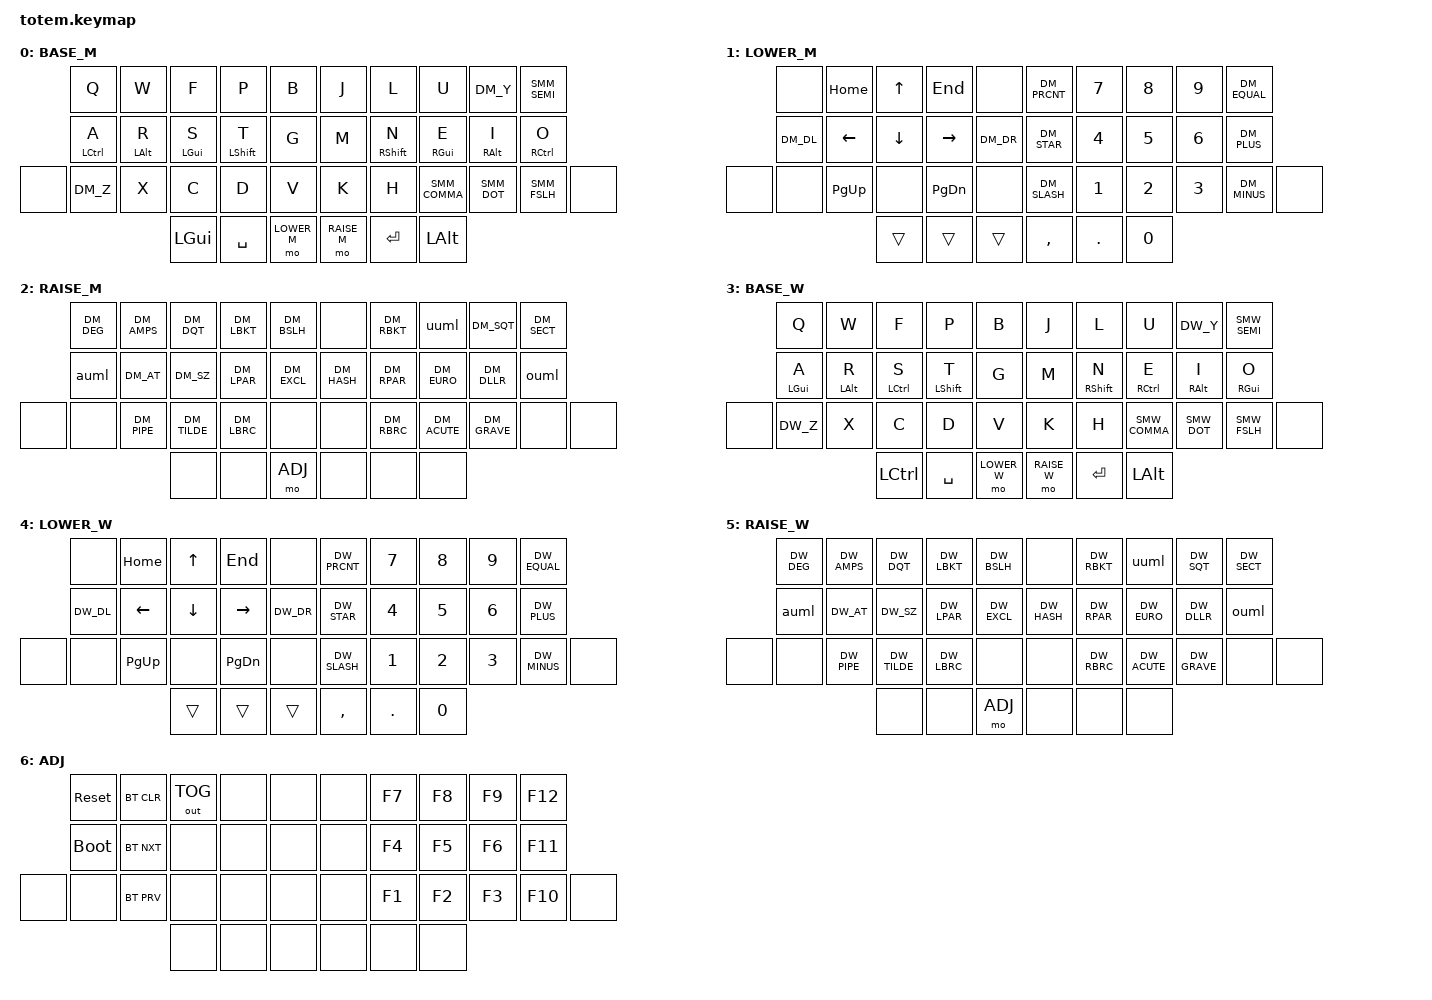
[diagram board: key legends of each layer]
//
//                                                        ▀▀▀▀▀     ▀▀▀▀▀          ▀▀█▀▀
//                                                        ▄▀▀▀▄  ▄  ▄▀▀▀▄  ▄  ▄▀▀▀▄  █  ▄▀▀▀▄
//                                                        █   █  █  █   █  █  █   █  █  █   █
//                                                         ▀▀▀   █   ▀▀▀   █   ▀▀▀   ▀   ▀▀▀
//                                                               █      ▄▄▄█▄▄▄    █   █  
//                                                               ▀      █  █  █     █▄█
//                                                             ▀▀▀▀▀    █  █  █      ▀
//                                                                      ▀  ▀  ▀
//
// ▄▄▄▄▄▄▄▄▄▄▄▄▄▄▄▄▄▄▄▄▄▄▄▄▄▄▄▄▄▄▄▄▄▄▄▄▄▄▄▄▄▄▄▄▄▄▄▄▄▄▄▄▄▄▄▄▄▄▄▄▄▄▄▄▄▄▄▄▄▄▄▄▄▄▄▄▄▄▄▄▄▄▄▄▄▄▄▄▄▄▄▄▄▄▄▄▄▄▄▄▄▄▄▄▄▄▄▄▄▄▄▄▄▄▄▄▄▄▄▄▄▄▄▄▄▄▄▄▄▄▄▄▄▄▄▄▄▄▄▄▄▄▄▄▄▄▄▄▄
       
#include <behaviors.dtsi>
#include <dt-bindings/zmk/keys.h>
#include <dt-bindings/zmk/bt.h>
#include <dt-bindings/zmk/outputs.h>

#include "../helpers/helper.h"
#include "../helpers/keys_de_mac.h"
#include "../helpers/keys_de_win.h"

#define BASE_M  0
#define LOWER_M 1
#define RAISE_M 2
#define BASE_W  3
#define LOWER_W 4
#define RAISE_W 5
#define ADJ     6

&mt {
  // CAGS
  quick-tap-ms = <100>;
  global-quick-tap;
  flavor = "tap-preferred";
  tapping-term-ms = <170>;
};

/ {
    combos {
            compatible = "zmk,combos";
            combo_esc {
                timeout-ms = <50>;
                key-positions = <0 1>;
                bindings = <&kp ESC>;
            };
            combo_backspace {
                timeout-ms = <50>;
                key-positions = <16 17>;
                bindings = <&kp BSPC>;
            };
            combo_delete {
                timeout-ms = <50>;
                key-positions = <17 18>;
                bindings = <&kp DEL>;
            };
            combo_word_delete {
                timeout-ms = <50>;
                key-positions = <16 18>;
                bindings = <&kp LA(BSPC)>;
            };
            combo_tab {
                timeout-ms = <50>;
                key-positions = <1 2>;
                bindings = <&kp TAB>;
            };
            combo_toggle_os {
                timeout-ms = <50>;
                key-positions = <4 5>;
                bindings = <&tog BASE_W>;
            };
    };

    macros {
 
    };

    behaviors {

    };

        keymap {
                compatible = "zmk,keymap";
// ▄▄▄▄▄▄▄▄▄▄▄▄▄▄▄▄▄▄▄▄▄▄▄▄▄▄▄▄▄▄▄▄▄▄▄▄▄▄▄▄▄▄▄▄▄▄▄▄▄▄▄▄▄▄▄▄▄▄▄▄▄▄▄▄▄▄▄▄▄▄▄▄▄▄▄▄▄▄▄▄▄▄▄▄▄▄▄▄▄▄▄▄▄▄▄▄▄▄▄▄▄▄▄▄▄▄▄▄▄▄▄▄▄▄▄▄▄▄▄▄▄▄▄▄▄▄▄▄▄▄▄▄▄▄▄▄▄▄▄▄▄▄▄▄▄▄▄▄▄

                BASE_M_layer {
// ┏━━━━━━━━━━━━━━━━━━━━━━━━━━━━━━━━━━━━━━━┓
label= "BASE_M"                              ;
// ┗━━━━━━━━━━━━━━━━━━━━━━━━━━━━━━━━━━━━━━━┛
//             ┏━━━━━━━━━━━┳━━━━━━━━━━━┳━━━━━━━━━━━┳━━━━━━━━━━━┳━━━━━━━━━━━┓   ┏━━━━━━━━━━━┳━━━━━━━━━━━┳━━━━━━━━━━━┳━━━━━━━━━━━┳━━━━━━━━━━━┓
//             ┃     Q     ┃     W     ┃     F     ┃     P     ┃     B     ┃   ┃     J     ┃     L     ┃     U     ┃     Y     ┃     ;     ┃
//             ┣━━━━━━━━━━━╋━━━━━━━━━━━╋━━━━━━━━━━━╋━━━━━━━━━━━╋━━━━━━━━━━━┫   ┣━━━━━━━━━━━╋━━━━━━━━━━━╋━━━━━━━━━━━╋━━━━━━━━━━━╋━━━━━━━━━━━┫
//             ┃     A     ┃     R     ┃     S     ┃     T     ┃     G     ┃   ┃     M     ┃     N     ┃     E     ┃     I     ┃     O     ┃
// ┏━━━━━━━━━━━╋━━━━━━━━━━━╋━━━━━━━━━━━╋━━━━━━━━━━━╋━━━━━━━━━━━╋━━━━━━━━━━━┫   ┣━━━━━━━━━━━╋━━━━━━━━━━━╋━━━━━━━━━━━╋━━━━━━━━━━━╋━━━━━━━━━━━╋━━━━━━━━━━━┓
// ┃           ┃     Z     ┃     X     ┃     C     ┃     D     ┃     V     ┃   ┃     K     ┃     H     ┃     ,     ┃     .     ┃     /     ┃           ┃
// ┗━━━━━━━━━━━┻━━━━━━━━━━━┻━━━━━━━━━━━╋━━━━━━━━━━━╋━━━━━━━━━━━╋━━━━━━━━━━━┫   ┣━━━━━━━━━━━╋━━━━━━━━━━━╋━━━━━━━━━━━╋━━━━━━━━━━━┻━━━━━━━━━━━┻━━━━━━━━━━━┛
//                                     ┃   LGUI    ┃   LSHFT   ┃   LOWER_M ┃   ┃   RAISE_M ┃    ENTER  ┃   LALT    ┃
//                                     ┗━━━━━━━━━━━┻━━━━━━━━━━━┻━━━━━━━━━━━┛   ┗━━━━━━━━━━━┻━━━━━━━━━━━┻━━━━━━━━━━━┛
 bindings = <
// ╷           ╷           ╷           ╷           ╷           ╷           ╷   ╷           ╷           ╷           ╷           ╷           ╷           ╷

                &kp Q       &kp W       &kp F       &kp P       &kp B           &kp J       &kp L       &kp U       &kp DM_Y    &SMM_SEMI
                &mt LCTRL A &mt LALT R  &mt LGUI S  &mt LSHFT T &kp G           &kp M       &mt RSHFT N &mt RGUI E  &mt RALT I  &mt RCTRL O
    &none       &kp DM_Z    &kp X       &kp C       &kp D       &kp V           &kp K       &kp H       &SMM_COMMA  &SMM_DOT    &SMM_FSLH   &none
                                        &kp LGUI    &kp SPACE   &mo LOWER_M     &mo RAISE_M &kp RET     &kp LALT
                        >;
                };

// ▄▄▄▄▄▄▄▄▄▄▄▄▄▄▄▄▄▄▄▄▄▄▄▄▄▄▄▄▄▄▄▄▄▄▄▄▄▄▄▄▄▄▄▄▄▄▄▄▄▄▄▄▄▄▄▄▄▄▄▄▄▄▄▄▄▄▄▄▄▄▄▄▄▄▄▄▄▄▄▄▄▄▄▄▄▄▄▄▄▄▄▄▄▄▄▄▄▄▄▄▄▄▄▄▄▄▄▄▄▄▄▄▄▄▄▄▄▄▄▄▄▄▄▄▄▄▄▄▄▄▄▄▄▄▄▄▄▄▄▄▄▄▄▄▄▄▄▄▄

                LOWER_M_layer {
// ┏━━━━━━━━━━━━━━━━━━━━━━━━━━━━━━━━━━━━━━━┓
label= "LOWER_M"                              ;
// ┗━━━━━━━━━━━━━━━━━━━━━━━━━━━━━━━━━━━━━━━┛
//             ┏━━━━━━━━━━━┳━━━━━━━━━━━┳━━━━━━━━━━━┳━━━━━━━━━━━┳━━━━━━━━━━━┓   ┏━━━━━━━━━━━┳━━━━━━━━━━━┳━━━━━━━━━━━┳━━━━━━━━━━━┳━━━━━━━━━━━┓
//             ┃           ┃   HOME    ┃     UP    ┃    END    ┃           ┃   ┃     %     ┃     7     ┃     8     ┃     9     ┃     =     ┃
//             ┣━━━━━━━━━━━╋━━━━━━━━━━━╋━━━━━━━━━━━╋━━━━━━━━━━━╋━━━━━━━━━━━┫   ┣━━━━━━━━━━━╋━━━━━━━━━━━╋━━━━━━━━━━━╋━━━━━━━━━━━╋━━━━━━━━━━━┫
//             ┃CTRL(LEFT) ┃   LEFT    ┃    DOWN   ┃   RIGHT   ┃CTRL(RIGHT)┃   ┃     *     ┃     4     ┃     5     ┃     6     ┃     +     ┃
// ┏━━━━━━━━━━━╋━━━━━━━━━━━╋━━━━━━━━━━━╋━━━━━━━━━━━╋━━━━━━━━━━━╋━━━━━━━━━━━┫   ┣━━━━━━━━━━━╋━━━━━━━━━━━╋━━━━━━━━━━━╋━━━━━━━━━━━╋━━━━━━━━━━━╋━━━━━━━━━━━┓
// ┃           ┃           ┃   P UP    ┃           ┃  P DOWN   ┃           ┃   ┃     /     ┃     1     ┃     2     ┃     3     ┃     -     ┃           ┃
// ┗━━━━━━━━━━━┻━━━━━━━━━━━┻━━━━━━━━━━━╋━━━━━━━━━━━╋━━━━━━━━━━━╋━━━━━━━━━━━┫   ┣━━━━━━━━━━━╋━━━━━━━━━━━╋━━━━━━━━━━━╋━━━━━━━━━━━┻━━━━━━━━━━━┻━━━━━━━━━━━┛
//                                     ┃   LGUI    ┃   LSHFT   ┃           ┃   ┃     ,     ┃     .     ┃     0     ┃
//                                     ┗━━━━━━━━━━━┻━━━━━━━━━━━┻━━━━━━━━━━━┛   ┗━━━━━━━━━━━┻━━━━━━━━━━━┻━━━━━━━━━━━┛
 bindings = <
// ╷           ╷           ╷           ╷           ╷           ╷           ╷   ╷           ╷           ╷           ╷           ╷           ╷           ╷

                &none       &kp HOME    &kp UP      &kp END     &none           &kp DM_PRCNT &kp N7     &kp N8      &kp N9      &kp DM_EQUAL
                &kp DM_DL   &kp LEFT    &kp DOWN    &kp RIGHT   &kp DM_DR       &kp DM_STAR  &kp N4     &kp N5      &kp N6      &kp DM_PLUS
    &none       &none       &kp PG_UP   &none       &kp PG_DN   &none           &kp DM_SLASH &kp N1     &kp N2      &kp N3      &kp DM_MINUS   &none      
                                        &trans      &trans      &trans          &kp COMMA    &kp DOT    &kp N0      
                        >;
                };

// ▄▄▄▄▄▄▄▄▄▄▄▄▄▄▄▄▄▄▄▄▄▄▄▄▄▄▄▄▄▄▄▄▄▄▄▄▄▄▄▄▄▄▄▄▄▄▄▄▄▄▄▄▄▄▄▄▄▄▄▄▄▄▄▄▄▄▄▄▄▄▄▄▄▄▄▄▄▄▄▄▄▄▄▄▄▄▄▄▄▄▄▄▄▄▄▄▄▄▄▄▄▄▄▄▄▄▄▄▄▄▄▄▄▄▄▄▄▄▄▄▄▄▄▄▄▄▄▄▄▄▄▄▄▄▄▄▄▄▄▄▄▄▄▄▄▄▄▄▄

                RAISE_M_layer {
// ┏━━━━━━━━━━━━━━━━━━━━━━━━━━━━━━━━━━━━━━━┓
label= "RAISE_M"                             ;
// ┗━━━━━━━━━━━━━━━━━━━━━━━━━━━━━━━━━━━━━━━┛
//             ┏━━━━━━━━━━━┳━━━━━━━━━━━┳━━━━━━━━━━━┳━━━━━━━━━━━┳━━━━━━━━━━━┓   ┏━━━━━━━━━━━┳━━━━━━━━━━━┳━━━━━━━━━━━┳━━━━━━━━━━━┳━━━━━━━━━━━┓
//             ┃     °     ┃     &     ┃     "     ┃     [     ┃     \     ┃   ┃           ┃     ]     ┃     Ü     ┃     '     ┃     §     ┃
//             ┣━━━━━━━━━━━╋━━━━━━━━━━━╋━━━━━━━━━━━╋━━━━━━━━━━━╋━━━━━━━━━━━┫   ┣━━━━━━━━━━━╋━━━━━━━━━━━╋━━━━━━━━━━━╋━━━━━━━━━━━╋━━━━━━━━━━━┫
//             ┃     Ä     ┃     @     ┃     ß     ┃     (     ┃     !     ┃   ┃     #     ┃     )     ┃     €     ┃     $     ┃     Ö     ┃
// ┏━━━━━━━━━━━╋━━━━━━━━━━━╋━━━━━━━━━━━╋━━━━━━━━━━━╋━━━━━━━━━━━╋━━━━━━━━━━━┫   ┣━━━━━━━━━━━╋━━━━━━━━━━━╋━━━━━━━━━━━╋━━━━━━━━━━━╋━━━━━━━━━━━╋━━━━━━━━━━━┓
// ┃           ┃           ┃     |     ┃     ~     ┃     {     ┃           ┃   ┃           ┃     }     ┃     ´     ┃     `     ┃           ┃           ┃
// ┗━━━━━━━━━━━┻━━━━━━━━━━━┻━━━━━━━━━━━╋━━━━━━━━━━━╋━━━━━━━━━━━╋━━━━━━━━━━━┫   ┣━━━━━━━━━━━╋━━━━━━━━━━━╋━━━━━━━━━━━╋━━━━━━━━━━━┻━━━━━━━━━━━┻━━━━━━━━━━━┛
//                                     ┃           ┃           ┃    ADJ    ┃   ┃           ┃           ┃           ┃
//                                     ┗━━━━━━━━━━━┻━━━━━━━━━━━┻━━━━━━━━━━━┛   ┗━━━━━━━━━━━┻━━━━━━━━━━━┻━━━━━━━━━━━┛
 bindings = <
// ╷           ╷           ╷           ╷           ╷           ╷           ╷   ╷           ╷           ╷           ╷           ╷           ╷           ╷

                &kp DM_DEG &kp DM_AMPS  &kp DM_DQT   &kp DM_LBKT &kp DM_BSLH    &none       &kp DM_RBKT &kp uuml     &kp DM_SQT   &kp DM_SECT
                &kp auml   &kp DM_AT    &kp DM_SZ    &kp DM_LPAR &kp DM_EXCL    &kp DM_HASH &kp DM_RPAR &kp DM_EURO  &kp DM_DLLR  &kp ouml             
    &none       &none      &kp DM_PIPE  &kp DM_TILDE &kp DM_LBRC &none          &none       &kp DM_RBRC &kp DM_ACUTE &kp DM_GRAVE &none       &none         
                                        &none        &none       &mo ADJ        &none       &none       &none      
                        >;
                };

// ▄▄▄▄▄▄▄▄▄▄▄▄▄▄▄▄▄▄▄▄▄▄▄▄▄▄▄▄▄▄▄▄▄▄▄▄▄▄▄▄▄▄▄▄▄▄▄▄▄▄▄▄▄▄▄▄▄▄▄▄▄▄▄▄▄▄▄▄▄▄▄▄▄▄▄▄▄▄▄▄▄▄▄▄▄▄▄▄▄▄▄▄▄▄▄▄▄▄▄▄▄▄▄▄▄▄▄▄▄▄▄▄▄▄▄▄▄▄▄▄▄▄▄▄▄▄▄▄▄▄▄▄▄▄▄▄▄▄▄▄▄▄▄▄▄▄▄▄▄

                BASE_W_layer {
// ┏━━━━━━━━━━━━━━━━━━━━━━━━━━━━━━━━━━━━━━━┓
label= "BASE_W"                              ;
// ┗━━━━━━━━━━━━━━━━━━━━━━━━━━━━━━━━━━━━━━━┛
//             ┏━━━━━━━━━━━┳━━━━━━━━━━━┳━━━━━━━━━━━┳━━━━━━━━━━━┳━━━━━━━━━━━┓   ┏━━━━━━━━━━━┳━━━━━━━━━━━┳━━━━━━━━━━━┳━━━━━━━━━━━┳━━━━━━━━━━━┓
//             ┃     Q     ┃     W     ┃     F     ┃     P     ┃     B     ┃   ┃     J     ┃     L     ┃     U     ┃     Y     ┃     ;     ┃
//             ┣━━━━━━━━━━━╋━━━━━━━━━━━╋━━━━━━━━━━━╋━━━━━━━━━━━╋━━━━━━━━━━━┫   ┣━━━━━━━━━━━╋━━━━━━━━━━━╋━━━━━━━━━━━╋━━━━━━━━━━━╋━━━━━━━━━━━┫
//             ┃     A     ┃     R     ┃     S     ┃     T     ┃     G     ┃   ┃     M     ┃     N     ┃     E     ┃     I     ┃     O     ┃
// ┏━━━━━━━━━━━╋━━━━━━━━━━━╋━━━━━━━━━━━╋━━━━━━━━━━━╋━━━━━━━━━━━╋━━━━━━━━━━━┫   ┣━━━━━━━━━━━╋━━━━━━━━━━━╋━━━━━━━━━━━╋━━━━━━━━━━━╋━━━━━━━━━━━╋━━━━━━━━━━━┓
// ┃           ┃     Z     ┃     X     ┃     C     ┃     D     ┃     V     ┃   ┃     K     ┃     H     ┃     ,     ┃     .     ┃     /     ┃           ┃
// ┗━━━━━━━━━━━┻━━━━━━━━━━━┻━━━━━━━━━━━╋━━━━━━━━━━━╋━━━━━━━━━━━╋━━━━━━━━━━━┫   ┣━━━━━━━━━━━╋━━━━━━━━━━━╋━━━━━━━━━━━╋━━━━━━━━━━━┻━━━━━━━━━━━┻━━━━━━━━━━━┛
//                                     ┃   LGUI    ┃   LSHFT   ┃   LOWER_M ┃   ┃   RAISE_M ┃    SPC    ┃   LALT    ┃
//                                     ┗━━━━━━━━━━━┻━━━━━━━━━━━┻━━━━━━━━━━━┛   ┗━━━━━━━━━━━┻━━━━━━━━━━━┻━━━━━━━━━━━┛
 bindings = <
// ╷           ╷           ╷           ╷           ╷           ╷           ╷   ╷           ╷           ╷           ╷           ╷           ╷           ╷

                &kp Q       &kp W       &kp F       &kp P       &kp B           &kp J       &kp L       &kp U       &kp DW_Y    &SMW_SEMI
                &mt LGUI A  &mt LALT R  &mt LCTRL S &mt LSHFT T &kp G           &kp M       &mt RSHFT N &mt RCTRL E &mt RALT I  &mt RGUI O
    &none       &kp DW_Z    &kp X       &kp C       &kp D       &kp V           &kp K       &kp H       &SMW_COMMA  &SMW_DOT    &SMW_FSLH   &none
                                        &kp LCTRL   &kp SPACE   &mo LOWER_W     &mo RAISE_W &kp RET     &kp LALT
                        >;
                };

// ▄▄▄▄▄▄▄▄▄▄▄▄▄▄▄▄▄▄▄▄▄▄▄▄▄▄▄▄▄▄▄▄▄▄▄▄▄▄▄▄▄▄▄▄▄▄▄▄▄▄▄▄▄▄▄▄▄▄▄▄▄▄▄▄▄▄▄▄▄▄▄▄▄▄▄▄▄▄▄▄▄▄▄▄▄▄▄▄▄▄▄▄▄▄▄▄▄▄▄▄▄▄▄▄▄▄▄▄▄▄▄▄▄▄▄▄▄▄▄▄▄▄▄▄▄▄▄▄▄▄▄▄▄▄▄▄▄▄▄▄▄▄▄▄▄▄▄▄▄

                LOWER_W_layer {
// ┏━━━━━━━━━━━━━━━━━━━━━━━━━━━━━━━━━━━━━━━┓
label= "LOWER_W"                              ;
// ┗━━━━━━━━━━━━━━━━━━━━━━━━━━━━━━━━━━━━━━━┛
//             ┏━━━━━━━━━━━┳━━━━━━━━━━━┳━━━━━━━━━━━┳━━━━━━━━━━━┳━━━━━━━━━━━┓   ┏━━━━━━━━━━━┳━━━━━━━━━━━┳━━━━━━━━━━━┳━━━━━━━━━━━┳━━━━━━━━━━━┓
//             ┃           ┃   HOME    ┃     UP    ┃    END    ┃           ┃   ┃     %     ┃     7     ┃     8     ┃     9     ┃     =     ┃
//             ┣━━━━━━━━━━━╋━━━━━━━━━━━╋━━━━━━━━━━━╋━━━━━━━━━━━╋━━━━━━━━━━━┫   ┣━━━━━━━━━━━╋━━━━━━━━━━━╋━━━━━━━━━━━╋━━━━━━━━━━━╋━━━━━━━━━━━┫
//             ┃CTRL(LEFT) ┃   LEFT    ┃    DOWN   ┃   RIGHT   ┃CTRL(RIGHT)┃   ┃     *     ┃     4     ┃     5     ┃     6     ┃     +     ┃
// ┏━━━━━━━━━━━╋━━━━━━━━━━━╋━━━━━━━━━━━╋━━━━━━━━━━━╋━━━━━━━━━━━╋━━━━━━━━━━━┫   ┣━━━━━━━━━━━╋━━━━━━━━━━━╋━━━━━━━━━━━╋━━━━━━━━━━━╋━━━━━━━━━━━╋━━━━━━━━━━━┓
// ┃           ┃           ┃   P UP    ┃           ┃  P DOWN   ┃           ┃   ┃     /     ┃     1     ┃     2     ┃     3     ┃     -     ┃           ┃
// ┗━━━━━━━━━━━┻━━━━━━━━━━━┻━━━━━━━━━━━╋━━━━━━━━━━━╋━━━━━━━━━━━╋━━━━━━━━━━━┫   ┣━━━━━━━━━━━╋━━━━━━━━━━━╋━━━━━━━━━━━╋━━━━━━━━━━━┻━━━━━━━━━━━┻━━━━━━━━━━━┛
//                                     ┃   LGUI    ┃   LSHFT   ┃           ┃   ┃     ,     ┃     .     ┃     0     ┃
//                                     ┗━━━━━━━━━━━┻━━━━━━━━━━━┻━━━━━━━━━━━┛   ┗━━━━━━━━━━━┻━━━━━━━━━━━┻━━━━━━━━━━━┛
 bindings = <
// ╷           ╷           ╷           ╷           ╷           ╷           ╷   ╷           ╷           ╷           ╷           ╷           ╷           ╷

                &none       &kp HOME    &kp UP      &kp END     &none           &kp DW_PRCNT &kp N7     &kp N8      &kp N9      &kp DW_EQUAL
                &kp DW_DL   &kp LEFT    &kp DOWN    &kp RIGHT   &kp DW_DR       &kp DW_STAR  &kp N4     &kp N5      &kp N6      &kp DW_PLUS
    &none       &none       &kp PG_UP   &none       &kp PG_DN   &none           &kp DW_SLASH &kp N1     &kp N2      &kp N3      &kp DW_MINUS   &none      
                                        &trans      &trans      &trans          &kp COMMA    &kp DOT    &kp N0      
                        >;
                };

// ▄▄▄▄▄▄▄▄▄▄▄▄▄▄▄▄▄▄▄▄▄▄▄▄▄▄▄▄▄▄▄▄▄▄▄▄▄▄▄▄▄▄▄▄▄▄▄▄▄▄▄▄▄▄▄▄▄▄▄▄▄▄▄▄▄▄▄▄▄▄▄▄▄▄▄▄▄▄▄▄▄▄▄▄▄▄▄▄▄▄▄▄▄▄▄▄▄▄▄▄▄▄▄▄▄▄▄▄▄▄▄▄▄▄▄▄▄▄▄▄▄▄▄▄▄▄▄▄▄▄▄▄▄▄▄▄▄▄▄▄▄▄▄▄▄▄▄▄▄

                RAISE_W_layer {
// ┏━━━━━━━━━━━━━━━━━━━━━━━━━━━━━━━━━━━━━━━┓
label= "RAISE_W"                             ;
// ┗━━━━━━━━━━━━━━━━━━━━━━━━━━━━━━━━━━━━━━━┛
//             ┏━━━━━━━━━━━┳━━━━━━━━━━━┳━━━━━━━━━━━┳━━━━━━━━━━━┳━━━━━━━━━━━┓   ┏━━━━━━━━━━━┳━━━━━━━━━━━┳━━━━━━━━━━━┳━━━━━━━━━━━┳━━━━━━━━━━━┓
//             ┃     °     ┃     &     ┃     "     ┃     [     ┃     \     ┃   ┃           ┃     ]     ┃     Ü     ┃     '     ┃     §     ┃
//             ┣━━━━━━━━━━━╋━━━━━━━━━━━╋━━━━━━━━━━━╋━━━━━━━━━━━╋━━━━━━━━━━━┫   ┣━━━━━━━━━━━╋━━━━━━━━━━━╋━━━━━━━━━━━╋━━━━━━━━━━━╋━━━━━━━━━━━┫
//             ┃     Ä     ┃     @     ┃     ß     ┃     (     ┃     !     ┃   ┃     #     ┃     )     ┃     €     ┃     $     ┃     Ö     ┃
// ┏━━━━━━━━━━━╋━━━━━━━━━━━╋━━━━━━━━━━━╋━━━━━━━━━━━╋━━━━━━━━━━━╋━━━━━━━━━━━┫   ┣━━━━━━━━━━━╋━━━━━━━━━━━╋━━━━━━━━━━━╋━━━━━━━━━━━╋━━━━━━━━━━━╋━━━━━━━━━━━┓
// ┃           ┃           ┃     |     ┃     ~     ┃     {     ┃           ┃   ┃           ┃     }     ┃     ´     ┃     `     ┃           ┃           ┃
// ┗━━━━━━━━━━━┻━━━━━━━━━━━┻━━━━━━━━━━━╋━━━━━━━━━━━╋━━━━━━━━━━━╋━━━━━━━━━━━┫   ┣━━━━━━━━━━━╋━━━━━━━━━━━╋━━━━━━━━━━━╋━━━━━━━━━━━┻━━━━━━━━━━━┻━━━━━━━━━━━┛
//                                     ┃           ┃           ┃    ADJ    ┃   ┃           ┃           ┃           ┃
//                                     ┗━━━━━━━━━━━┻━━━━━━━━━━━┻━━━━━━━━━━━┛   ┗━━━━━━━━━━━┻━━━━━━━━━━━┻━━━━━━━━━━━┛
 bindings = <
// ╷           ╷           ╷           ╷           ╷           ╷           ╷   ╷           ╷           ╷           ╷           ╷           ╷           ╷

                &kp DW_DEG &kp DW_AMPS &kp DW_DQT   &kp DW_LBKT &kp DW_BSLH     &none       &kp DW_RBKT &kp uuml     &kp DW_SQT   &kp DW_SECT
                &kp auml   &kp DW_AT   &kp DW_SZ    &kp DW_LPAR &kp DW_EXCL     &kp DW_HASH &kp DW_RPAR &kp DW_EURO  &kp DW_DLLR  &kp ouml             
    &none       &none      &kp DW_PIPE &kp DW_TILDE &kp DW_LBRC &none           &none       &kp DW_RBRC &kp DW_ACUTE &kp DW_GRAVE &none       &none         
                                       &none        &none       &mo ADJ         &none       &none       &none      
                        >;
                };

// ▄▄▄▄▄▄▄▄▄▄▄▄▄▄▄▄▄▄▄▄▄▄▄▄▄▄▄▄▄▄▄▄▄▄▄▄▄▄▄▄▄▄▄▄▄▄▄▄▄▄▄▄▄▄▄▄▄▄▄▄▄▄▄▄▄▄▄▄▄▄▄▄▄▄▄▄▄▄▄▄▄▄▄▄▄▄▄▄▄▄▄▄▄▄▄▄▄▄▄▄▄▄▄▄▄▄▄▄▄▄▄▄▄▄▄▄▄▄▄▄▄▄▄▄▄▄▄▄▄▄▄▄▄▄▄▄▄▄▄▄▄▄▄▄▄▄▄▄▄


                adjust_layer {
// ┏━━━━━━━━━━━━━━━━━━━━━━━━━━━━━━━━━━━━━━━┓
label= "ADJ"                               ;
// ┗━━━━━━━━━━━━━━━━━━━━━━━━━━━━━━━━━━━━━━━┛
//             ┏━━━━━━━━━━━┳━━━━━━━━━━━┳━━━━━━━━━━━┳━━━━━━━━━━━┳━━━━━━━━━━━┓   ┏━━━━━━━━━━━┳━━━━━━━━━━━┳━━━━━━━━━━━┳━━━━━━━━━━━┳━━━━━━━━━━━┓
//             ┃   RESET   ┃ BT CLEAR  ┃  OUT TOG  ┃           ┃           ┃   ┃           ┃    F7     ┃    F8     ┃    F9     ┃    F12    ┃
//             ┣━━━━━━━━━━━╋━━━━━━━━━━━╋━━━━━━━━━━━╋━━━━━━━━━━━╋━━━━━━━━━━━┫   ┣━━━━━━━━━━━╋━━━━━━━━━━━╋━━━━━━━━━━━╋━━━━━━━━━━━╋━━━━━━━━━━━┫
//             ┃ BOOTLOAD  ┃ BT NEXT   ┃           ┃           ┃           ┃   ┃           ┃    F4     ┃    F5     ┃    F6     ┃    F11    ┃
// ┏━━━━━━━━━━━╋━━━━━━━━━━━╋━━━━━━━━━━━╋━━━━━━━━━━━╋━━━━━━━━━━━╋━━━━━━━━━━━┫   ┣━━━━━━━━━━━╋━━━━━━━━━━━╋━━━━━━━━━━━╋━━━━━━━━━━━╋━━━━━━━━━━━╋━━━━━━━━━━━┓
// ┃           ┃           ┃ BT PREV   ┃           ┃           ┃           ┃   ┃           ┃    F1     ┃    F2     ┃    F3     ┃    F10    ┃           ┃
// ┗━━━━━━━━━━━┻━━━━━━━━━━━┻━━━━━━━━━━━╋━━━━━━━━━━━╋━━━━━━━━━━━╋━━━━━━━━━━━┫   ┣━━━━━━━━━━━╋━━━━━━━━━━━╋━━━━━━━━━━━╋━━━━━━━━━━━┻━━━━━━━━━━━┻━━━━━━━━━━━┛
//                                     ┃           ┃           ┃           ┃   ┃           ┃           ┃           ┃
//                                     ┗━━━━━━━━━━━┻━━━━━━━━━━━┻━━━━━━━━━━━┛   ┗━━━━━━━━━━━┻━━━━━━━━━━━┻━━━━━━━━━━━┛
 bindings = <
// ╷           ╷           ╷           ╷           ╷           ╷           ╷   ╷           ╷           ╷           ╷           ╷           ╷           ╷

                &sys_reset  &bt BT_CLR  &out OUT_TOG &none      &none          &none      &kp F7      &kp F8      &kp F9      &kp F12
                &bootloader &bt BT_NXT  &none        &none      &none          &none      &kp F4      &kp F5      &kp F6      &kp F11  
    &none       &none       &bt BT_PRV  &none        &none      &none          &none      &kp F1      &kp F2      &kp F3      &kp F10     &none         
                                        &none        &none      &none          &none      &none       &none      
                        >;
                };
        };
};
